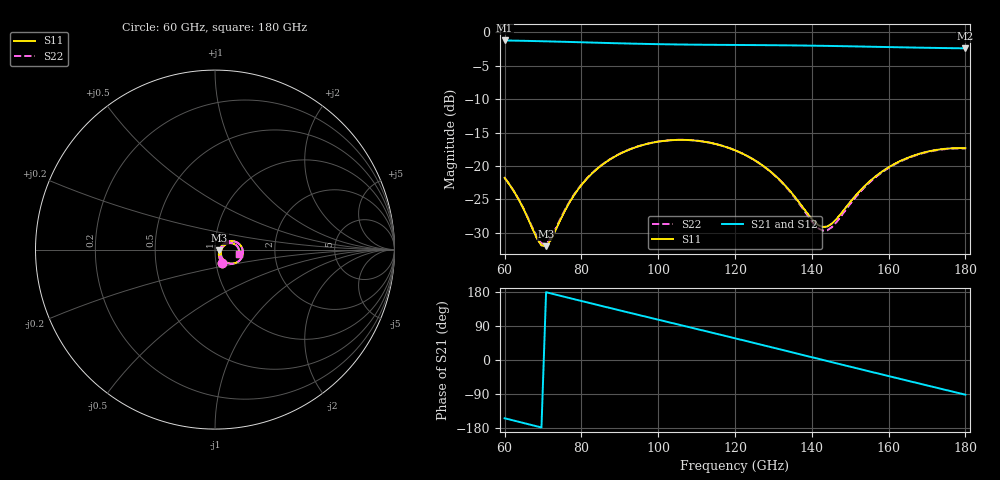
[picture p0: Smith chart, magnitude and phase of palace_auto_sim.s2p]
#  GHZ S DB R 50
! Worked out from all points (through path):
!   101 points, 60 GHz to 180 GHz, reference 50 ohm
!   highest |S21| = -1.21 dB at 60 GHz (marker M1); lowest = -2.4 dB at 180 GHz (marker M2)
!   group delay of S21, straight-line fit = 6.89 ps
!   lowest |S11| = -32.0 dB at 70.8 GHz (marker M3), VSWR 1.05, Z = 52.6 - j0.332 ohm
!   |S11| at or under -10 dB: start of sweep to end of sweep
!   |S22| runs from -31.7 to -16.1 dB; largest |S21 - S12| = 9.6e-14
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60  -21.78 -63.0  -1.21 -153.7  -1.21 -153.7  -21.78 -62.5
63.6  -24.96 -63.0  -1.25 -162.9  -1.25 -162.9  -24.93 -62.1
68.4  -30.84 -40.1  -1.31 -175.1  -1.31 -175.1  -30.64 -38.9
69.6  -31.91 -24.9  -1.32 -178.1  -1.32 -178.1  -31.61 -24.1
70.8  -32.01 -7.2  -1.34 178.9  -1.34 178.9  -31.69 -7.1
72  -31.13 8.5  -1.36 175.8  -1.36 175.8  -30.84 7.9
76.8  -25.56 32.9  -1.43 163.8  -1.43 163.8  -25.45 32.1
80.4  -22.58 33.5  -1.49 154.8  -1.49 154.8  -22.52 32.8
88.8  -18.56 22.7  -1.62 133.9  -1.62 133.9  -18.53 22.1
94.8  -17.07 12.0  -1.70 119.1  -1.70 119.1  -17.05 11.5
100.8  -16.30 0.6  -1.77 104.5  -1.77 104.5  -16.28 0.1
110.4  -16.24 -18.0  -1.84 81.0  -1.84 81.0  -16.24 -18.5
120  -17.65 -35.6  -1.88 57.3  -1.88 57.3  -17.65 -36.3
126  -19.46 -44.9  -1.91 42.4  -1.91 42.4  -19.48 -45.8
130.8  -21.63 -49.7  -1.93 30.4  -1.93 30.4  -21.67 -50.9
140.4  -28.18 -32.3  -1.99 6.4  -1.99 6.4  -28.57 -34.2
142.8  -29.14 -15.1  -2.01 0.4  -2.01 0.4  -29.68 -15.9
145.2  -28.65 3.2  -2.04 -5.6  -2.04 -5.6  -29.19 4.0
153.6  -23.10 25.8  -2.13 -26.6  -2.13 -26.6  -23.28 27.6
160.8  -19.93 20.2  -2.21 -44.4  -2.21 -44.4  -20.03 21.8
170.4  -17.82 5.5  -2.31 -68.0  -2.31 -68.0  -17.88 6.9
180  -17.34 -11.2  -2.39 -91.6  -2.39 -91.6  -17.38 -9.7
